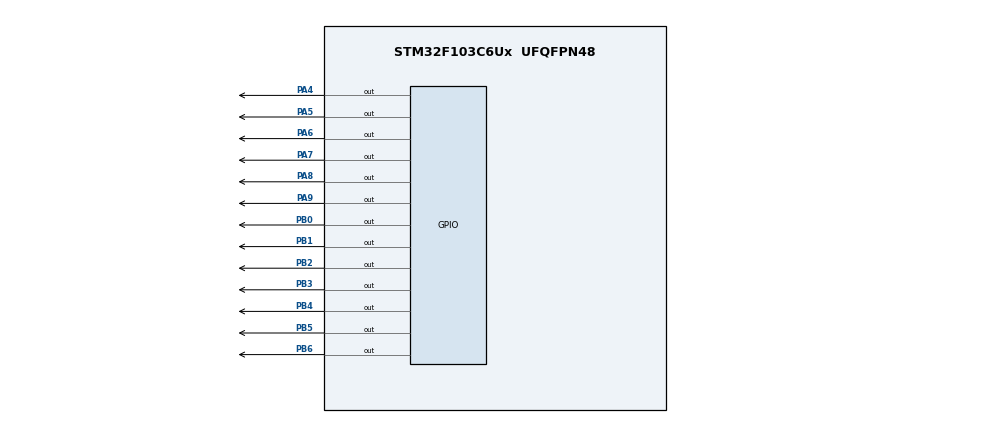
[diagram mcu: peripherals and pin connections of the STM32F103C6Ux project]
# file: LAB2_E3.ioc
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Mcu.Family=STM32F1
Mcu.Name=STM32F103C6Ux
Mcu.Package=UFQFPN48
NVIC.PriorityGroup=NVIC_PRIORITYGROUP_4
NVIC.TIM2_IRQn=true\:0\:0\:false\:false\:true\:true\:true
PA4.Signal=GPIO_Output
PA5.Signal=GPIO_Output
PA6.Signal=GPIO_Output
PA7.Signal=GPIO_Output
PA8.Signal=GPIO_Output
PA9.Signal=GPIO_Output
PB0.Signal=GPIO_Output
PB1.Signal=GPIO_Output
PB2.Signal=GPIO_Output
PB3.Signal=GPIO_Output
PB4.Signal=GPIO_Output
PB5.Signal=GPIO_Output
PB6.Signal=GPIO_Output
ProjectManager.HeapSize=0x200
ProjectManager.StackSize=0x400
ProjectManager.TargetToolchain=STM32CubeIDE
RCC.APB1Freq_Value=8000000
RCC.APB2Freq_Value=8000000
TIM2.Period=9
TIM2.Prescaler=7999
VP_SYS_VS_ND.Mode=No_Debug
VP_TIM2_VS_ClockSourceINT.Mode=Internal
board=custom

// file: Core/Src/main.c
/* USER CODE BEGIN Header */
/**
  ******************************************************************************
  * @file           : main.c
  * @brief          : Main program body
  ******************************************************************************
  * @attention
  *
  * <h2><center>&copy; Copyright (c) 2025 STMicroelectronics.
  * All rights reserved.</center></h2>
  *
  * This software component is licensed by ST under BSD 3-Clause license,
  * the "License"; You may not use this file except in compliance with the
  * License. You may obtain a copy of the License at:
  *                        opensource.org/licenses/BSD-3-Clause
  *
  ******************************************************************************
  */
/* USER CODE END Header */
#include "main.h"

TIM_HandleTypeDef htim2;

void SystemClock_Config(void);
static void MX_GPIO_Init(void);
static void MX_TIM2_Init(void);

uint8_t table[10] = {
    0b1000000, // 0
    0b1111001, // 1
    0b0100100, // 2
    0b0110000, // 3
    0b0011001, // 4
    0b0010010, // 5
    0b0000010, // 6
    0b1111000, // 7
    0b0000000, // 8
    0b0010000 // 9
};

void display7SEG(int num){
	uint8_t n= table[num];
	GPIOB->ODR= (GPIOB->ODR & 0xFFFFFF80)|n;
}

const int MAX_LED = 4;
int index_led = 0;
int led_buffer [4] = {1, 2, 3, 4};
int flag=0;

void update7SEG ( int index ){

switch ( index ){
 case 0:
	 HAL_GPIO_WritePin(GPIOA, GPIO_PIN_6, RESET);
	 HAL_GPIO_WritePin(GPIOA, GPIO_PIN_7, SET);
	 HAL_GPIO_WritePin(GPIOA, GPIO_PIN_8, SET);
	 HAL_GPIO_WritePin(GPIOA, GPIO_PIN_9, SET);
	 display7SEG(led_buffer[index]);
 break ;

 case 1:
	 HAL_GPIO_WritePin(GPIOA, GPIO_PIN_6, SET);
	 HAL_GPIO_WritePin(GPIOA, GPIO_PIN_7, RESET);
	 HAL_GPIO_WritePin(GPIOA, GPIO_PIN_8, SET);
	 HAL_GPIO_WritePin(GPIOA, GPIO_PIN_9, SET);
	 display7SEG(led_buffer[index]);
// Display the second 7 SEG with led_buffer [1]
 break ;

 case 2:
	 HAL_GPIO_WritePin(GPIOA, GPIO_PIN_6, SET);
	 HAL_GPIO_WritePin(GPIOA, GPIO_PIN_7, SET);
	 HAL_GPIO_WritePin(GPIOA, GPIO_PIN_8, RESET);
	 HAL_GPIO_WritePin(GPIOA, GPIO_PIN_9, SET);
	 display7SEG(led_buffer[index]);
 // Display the third 7 SEG with led_buffer [2]
 break ;

 case 3:
	 HAL_GPIO_WritePin(GPIOA, GPIO_PIN_6, SET);
	 HAL_GPIO_WritePin(GPIOA, GPIO_PIN_7, SET);
	 HAL_GPIO_WritePin(GPIOA, GPIO_PIN_8, SET);
	 HAL_GPIO_WritePin(GPIOA, GPIO_PIN_9, RESET);
	 display7SEG(led_buffer[index]);
 // Display the forth 7 SEG with led_buffer [3]
 break ;

 default :
 break ;
 }
}
int main(void)
{

  /* MCU Configuration--------------------------------------------------------*/

  /* Reset of all peripherals, Initializes the Flash interface and the Systick. */
  HAL_Init();

  /* Configure the system clock */
  SystemClock_Config();

  /* Initialize all configured peripherals */
  MX_GPIO_Init();
  MX_TIM2_Init();
  /* USER CODE BEGIN 2 */
HAL_TIM_Base_Start_IT(&htim2);
  /* USER CODE END 2 */

  /* Infinite loop */
  while (1)
  {

  }
}

void SystemClock_Config(void)
{
  RCC_OscInitTypeDef RCC_OscInitStruct = {0};
  RCC_ClkInitTypeDef RCC_ClkInitStruct = {0};

  /** Initializes the RCC Oscillators according to the specified parameters
  * in the RCC_OscInitTypeDef structure.
  */
  RCC_OscInitStruct.OscillatorType = RCC_OSCILLATORTYPE_HSI;
  RCC_OscInitStruct.HSIState = RCC_HSI_ON;
  RCC_OscInitStruct.HSICalibrationValue = RCC_HSICALIBRATION_DEFAULT;
  RCC_OscInitStruct.PLL.PLLState = RCC_PLL_NONE;
  if (HAL_RCC_OscConfig(&RCC_OscInitStruct) != HAL_OK)
  {
    Error_Handler();
  }
  /** Initializes the CPU, AHB and APB buses clocks
  */
  RCC_ClkInitStruct.ClockType = RCC_CLOCKTYPE_HCLK|RCC_CLOCKTYPE_SYSCLK
                              |RCC_CLOCKTYPE_PCLK1|RCC_CLOCKTYPE_PCLK2;
  RCC_ClkInitStruct.SYSCLKSource = RCC_SYSCLKSOURCE_HSI;
  RCC_ClkInitStruct.AHBCLKDivider = RCC_SYSCLK_DIV1;
  RCC_ClkInitStruct.APB1CLKDivider = RCC_HCLK_DIV1;
  RCC_ClkInitStruct.APB2CLKDivider = RCC_HCLK_DIV1;

  if (HAL_RCC_ClockConfig(&RCC_ClkInitStruct, FLASH_LATENCY_0) != HAL_OK)
  {
    Error_Handler();
  }
}

static void MX_TIM2_Init(void)
{

  TIM_ClockConfigTypeDef sClockSourceConfig = {0};
  TIM_MasterConfigTypeDef sMasterConfig = {0};

  htim2.Instance = TIM2;
  htim2.Init.Prescaler = 7999;
  htim2.Init.CounterMode = TIM_COUNTERMODE_UP;
  htim2.Init.Period = 9;
  htim2.Init.ClockDivision = TIM_CLOCKDIVISION_DIV1;
  htim2.Init.AutoReloadPreload = TIM_AUTORELOAD_PRELOAD_DISABLE;
  if (HAL_TIM_Base_Init(&htim2) != HAL_OK)
  {
    Error_Handler();
  }
  sClockSourceConfig.ClockSource = TIM_CLOCKSOURCE_INTERNAL;
  if (HAL_TIM_ConfigClockSource(&htim2, &sClockSourceConfig) != HAL_OK)
  {
    Error_Handler();
  }
  sMasterConfig.MasterOutputTrigger = TIM_TRGO_RESET;
  sMasterConfig.MasterSlaveMode = TIM_MASTERSLAVEMODE_DISABLE;
  if (HAL_TIMEx_MasterConfigSynchronization(&htim2, &sMasterConfig) != HAL_OK)
  {
    Error_Handler();
  }

}

static void MX_GPIO_Init(void)
{
  GPIO_InitTypeDef GPIO_InitStruct = {0};

  /* GPIO Ports Clock Enable */
  __HAL_RCC_GPIOA_CLK_ENABLE();
  __HAL_RCC_GPIOB_CLK_ENABLE();

  /*Configure GPIO pin Output Level */
  HAL_GPIO_WritePin(GPIOA, GPIO_PIN_4|GPIO_PIN_5|GPIO_PIN_6|GPIO_PIN_7
                          |GPIO_PIN_8|GPIO_PIN_9, GPIO_PIN_RESET);

  /*Configure GPIO pin Output Level */
  HAL_GPIO_WritePin(GPIOB, GPIO_PIN_0|GPIO_PIN_1|GPIO_PIN_2|GPIO_PIN_3
                          |GPIO_PIN_4|GPIO_PIN_5|GPIO_PIN_6, GPIO_PIN_RESET);

  /*Configure GPIO pins : PA4 PA5 PA6 PA7
                           PA8 PA9 */
  GPIO_InitStruct.Pin = GPIO_PIN_4|GPIO_PIN_5|GPIO_PIN_6|GPIO_PIN_7
                          |GPIO_PIN_8|GPIO_PIN_9;
  GPIO_InitStruct.Mode = GPIO_MODE_OUTPUT_PP;
  GPIO_InitStruct.Pull = GPIO_NOPULL;
  GPIO_InitStruct.Speed = GPIO_SPEED_FREQ_LOW;
  HAL_GPIO_Init(GPIOA, &GPIO_InitStruct);

  /*Configure GPIO pins : PB0 PB1 PB2 PB3
                           PB4 PB5 PB6 */
  GPIO_InitStruct.Pin = GPIO_PIN_0|GPIO_PIN_1|GPIO_PIN_2|GPIO_PIN_3
                          |GPIO_PIN_4|GPIO_PIN_5|GPIO_PIN_6;
  GPIO_InitStruct.Mode = GPIO_MODE_OUTPUT_PP;
  GPIO_InitStruct.Pull = GPIO_NOPULL;
  GPIO_InitStruct.Speed = GPIO_SPEED_FREQ_LOW;
  HAL_GPIO_Init(GPIOB, &GPIO_InitStruct);

}

/* USER CODE BEGIN 4 */
int counter=50;
int onesec=0;
void HAL_TIM_PeriodElapsedCallback(TIM_HandleTypeDef *htim){

	if(counter<=0){
		flag=1;
		counter=50;
		if(index_led<3) index_led++;
		else index_led=0;
	}

	if(flag){
	   flag=0;
	   onesec++;
	   if(onesec==2) {
		HAL_GPIO_TogglePin(GPIOA, GPIO_PIN_5);
		HAL_GPIO_TogglePin(GPIOA, GPIO_PIN_4);
		onesec=0;
        }
     }
	update7SEG(index_led);

	counter--;
}
/* USER CODE END 4 */

void Error_Handler(void)
{
  __disable_irq();
  while (1)
  {
  }
}

/************************ (C) COPYRIGHT STMicroelectronics *****END OF FILE****/
